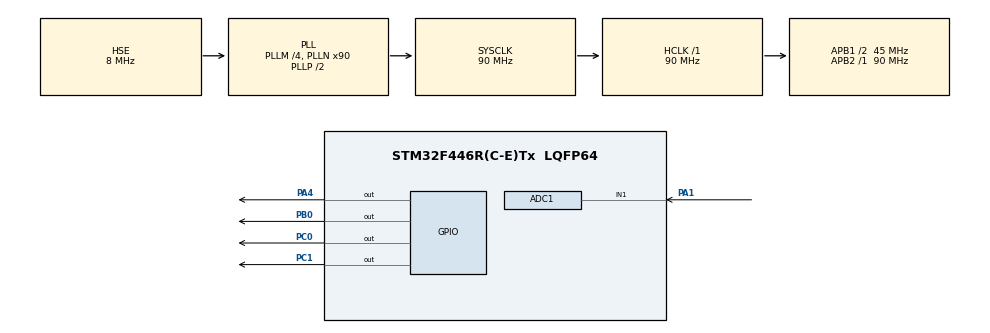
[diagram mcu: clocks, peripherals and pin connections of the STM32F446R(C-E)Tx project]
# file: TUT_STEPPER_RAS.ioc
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Mcu.Family=STM32F4
RCC.PLLSourceVirtual=RCC_PLLSOURCE_HSE
PH0-OSC_IN.Signal=RCC_OSC_IN
Dma.ADC1.0.Instance=DMA2_Stream0
RCC.CortexFreq_Value=90000000
ADC1.Rank-0\#ChannelRegularConversion=1
ADC1.ContinuousConvMode=ENABLE
TIM6.Prescaler=90-1
VP_TIM6_VS_ClockSourceINT.Mode=Enable_Timer
PC0.Signal=GPIO_Output
RCC.APB1CLKDivider=RCC_HCLK_DIV2
RCC.SYSCLKSource=RCC_SYSCLKSOURCE_PLLCLK
ProjectManager.StackSize=0x400
Dma.ADC1.0.PeriphDataAlignment=DMA_PDATAALIGN_HALFWORD
ProjectManager.TargetToolchain=STM32CubeIDE
Dma.ADC1.0.Mode=DMA_CIRCULAR
RCC.HCLKFreq_Value=90000000
Dma.ADC1.0.Priority=DMA_PRIORITY_LOW
RCC.APB2TimFreq_Value=90000000
Dma.ADC1.0.Direction=DMA_PERIPH_TO_MEMORY
NVIC.DMA2_Stream0_IRQn=true\:0\:0\:false\:false\:true\:false\:true
RCC.USBFreq_Value=90000000
Dma.ADC1.0.MemDataAlignment=DMA_MDATAALIGN_HALFWORD
PA1.Signal=ADCx_IN1
RCC.AHBFreq_Value=90000000
PH0-OSC_IN.Mode=HSE-External-Clock-Source
ADC1.Channel-0\#ChannelRegularConversion=ADC_CHANNEL_1
RCC.HSE_VALUE=8000000
board=custom
RCC.VCOOutputFreq_Value=180000000
RCC.APB2Freq_Value=90000000
Dma.ADC1.0.PeriphInc=DMA_PINC_DISABLE
PH1-OSC_OUT.Signal=RCC_OSC_OUT
ADC1.DMAContinuousRequests=ENABLE
Mcu.Name=STM32F446R(C-E)Tx
ADC1.SamplingTime-0\#ChannelRegularConversion=ADC_SAMPLETIME_3CYCLES
PH1-OSC_OUT.Mode=HSE-External-Clock-Source
PA4.Signal=GPIO_Output
RCC.SYSCLKFreq_VALUE=90000000
Mcu.Package=LQFP64
ADC1.master=1
Dma.ADC1.0.MemInc=DMA_MINC_ENABLE
ProjectManager.HeapSize=0x200
NVIC.PriorityGroup=NVIC_PRIORITYGROUP_4
ADC1.NbrOfConversionFlag=1
SH.ADCx_IN1.0=ADC1_IN1,IN1
RCC.PLLM=4
RCC.PLLN=90
RCC.APB1TimFreq_Value=90000000
Dma.ADC1.0.FIFOMode=DMA_FIFOMODE_DISABLE
Dma.Request0=ADC1
RCC.APB1Freq_Value=45000000
PB0.Signal=GPIO_Output
PC1.Signal=GPIO_Output

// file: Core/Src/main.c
/* USER CODE BEGIN Header */
/**
  ******************************************************************************
  * @file           : main.c
  * @brief          : Main program body
  ******************************************************************************
  * @attention
  *
  * <h2><center>&copy; Copyright (c) 2021 STMicroelectronics.
  * All rights reserved.</center></h2>
  *
  * This software component is licensed by ST under BSD 3-Clause license,
  * the "License"; You may not use this file except in compliance with the
  * License. You may obtain a copy of the License at:
  *                        opensource.org/licenses/BSD-3-Clause
  *
  ******************************************************************************
  */
/* USER CODE END Header */
#include "main.h"

ADC_HandleTypeDef hadc1;
DMA_HandleTypeDef hdma_adc1;

TIM_HandleTypeDef htim6;

void SystemClock_Config(void);
static void MX_GPIO_Init(void);
static void MX_DMA_Init(void);
static void MX_ADC1_Init(void);
static void MX_TIM6_Init(void);

/* USER CODE BEGIN 0 */

#define IN1Port GPIOA
#define IN1Pin GPIO_PIN_4

#define IN2Port GPIOB
#define IN2Pin  GPIO_PIN_0

#define IN3Port GPIOC
#define IN3Pin  GPIO_PIN_1

#define IN4Port GPIOC
#define IN4Pin  GPIO_PIN_0

#define stepsperrev 2048

/* To produce us Delay */
void delay (uint16_t us)
{
	__HAL_TIM_SET_COUNTER(&htim6, 0);
	while (__HAL_TIM_GET_COUNTER(&htim6) < us);
}

/*set the RPM for the Stepper */
void stepper_set_rpm (int rpm)  // Set rpm--> max 13, min 1,,,  went to 14 rev/min
{
	delay(60000000/stepsperrev/rpm);
}

/*Set a particular pin */
void SetPin (GPIO_TypeDef* GPIOx, uint16_t GPIO_Pin)
{
	HAL_GPIO_WritePin(GPIOx, GPIO_Pin, GPIO_PIN_SET);
}

/*Reset a particular pin */
void ResetPin (GPIO_TypeDef* GPIOx, uint16_t GPIO_Pin)
{
	HAL_GPIO_WritePin(GPIOx, GPIO_Pin, GPIO_PIN_RESET);
}

/* Wave Drive for Stepper
 * It Energizes 1 Electromagnet at a time
 * 1 revolution is 2048 steps = 512 Sequences
 * Here Sequence stands for one complete loop inside this function
 * As there are 4 steps in one loop/sequence, 2048 steps = 512 sequences
 */
void stepper_wave_drive (int step)
{
	switch (step){
		case 0:
			  SetPin(IN1Port, IN1Pin);   // IN1 SET
			  ResetPin(IN2Port, IN2Pin);   // IN2 RESET
			  ResetPin(IN3Port, IN3Pin);   // IN3 RESET
			  ResetPin(IN4Port, IN4Pin);   // IN4 RESET
			  break;

		case 1:
			  ResetPin(IN1Port, IN1Pin);   // IN1 RESET
			  SetPin(IN2Port, IN2Pin);   // IN2 SET
			  ResetPin(IN3Port, IN3Pin);   // IN3 RESET
			  ResetPin(IN4Port, IN4Pin);   // IN4 RESET
			  break;

		case 2:
			  ResetPin(IN1Port, IN1Pin);   // IN1 RESET
			  ResetPin(IN2Port, IN2Pin);   // IN2 RESET
			  SetPin(IN3Port, IN3Pin);   // IN3 SET
			  ResetPin(IN4Port, IN4Pin);   // IN4 RESET
			  break;

		case 3:
			  ResetPin(IN1Port, IN1Pin);   // IN1 RESET
			  ResetPin(IN2Port, IN2Pin);   // IN2 RESET
			  ResetPin(IN3Port, IN3Pin);   // IN3 RESET
			  SetPin(IN4Port, IN4Pin);   // IN4 SET

		}
}

/* Step the motor by some particular angle
 * DIRECTION: 0 -> CK, 1 -> CCK
 */

void stepper_step_angle (float angle, int direction, int rpm)
{
	float anglepersequence = 0.703125;  // 360 degrees= 512 sequences
	int numberofsequences = (int) (angle/anglepersequence);

	for (int seq=0; seq<numberofsequences; seq++)
	{
		if (direction == 0)  // for clockwise
		{
			for (int step=7; step>=0; step--)
			{
				stepper_wave_drive(step);
				stepper_set_rpm(rpm);
			}

		}

		else if (direction == 1)  // for Counter-clockwise
		{
			for (int step=0; step<8; step++)
			{
				stepper_wave_drive(step);
				stepper_set_rpm(rpm);
			}
		}
	}
}

uint32_t ADC_VAL;
float voltage;
float angle;
float currentAngle = 0;

/* Rotate the motor */
void Stepper_rotate (int angle, int rpm)
{
	int changeinangle = 0;
	changeinangle = angle-currentAngle;  // calculate the angle by which the motor needed to be rotated
	if (changeinangle > 2)  // clockwise
	{
		stepper_step_angle (changeinangle,0,rpm);
		currentAngle = angle;  // save the angle as current angle
	}
	else if (changeinangle <-2) // CCK
	{
		changeinangle = -(changeinangle);
		stepper_step_angle (changeinangle,1,rpm);
		currentAngle = angle;
	}
}

void HAL_ADC_ConvCpltCallback(ADC_HandleTypeDef* hadc)
{
	voltage = (float)(ADC_VAL*3.3)/4095;
	angle = voltage*300/3.3;
	Stepper_rotate(angle, 10);
}

/* USER CODE END 0 */

int main(void)
{

  /* MCU Configuration--------------------------------------------------------*/

  /* Reset of all peripherals, Initializes the Flash interface and the Systick. */
  HAL_Init();

  /* Configure the system clock */
  SystemClock_Config();

  /* Initialize all configured peripherals */
  MX_GPIO_Init();
  MX_DMA_Init();
  MX_ADC1_Init();
  MX_TIM6_Init();
  /* USER CODE BEGIN 2 */

  HAL_TIM_Base_Start(&htim6);  // for us delay
  HAL_ADC_Start_DMA(&hadc1, &ADC_VAL, 1);

  /* USER CODE END 2 */

  /* Infinite loop */
  while (1)
  {

  }
}

void SystemClock_Config(void)
{
  RCC_OscInitTypeDef RCC_OscInitStruct = {0};
  RCC_ClkInitTypeDef RCC_ClkInitStruct = {0};

  /** Configure the main internal regulator output voltage
  */
  __HAL_RCC_PWR_CLK_ENABLE();
  __HAL_PWR_VOLTAGESCALING_CONFIG(PWR_REGULATOR_VOLTAGE_SCALE3);
  /** Initializes the RCC Oscillators according to the specified parameters
  * in the RCC_OscInitTypeDef structure.
  */
  RCC_OscInitStruct.OscillatorType = RCC_OSCILLATORTYPE_HSE;
  RCC_OscInitStruct.HSEState = RCC_HSE_BYPASS;
  RCC_OscInitStruct.PLL.PLLState = RCC_PLL_ON;
  RCC_OscInitStruct.PLL.PLLSource = RCC_PLLSOURCE_HSE;
  RCC_OscInitStruct.PLL.PLLM = 4;
  RCC_OscInitStruct.PLL.PLLN = 90;
  RCC_OscInitStruct.PLL.PLLP = RCC_PLLP_DIV2;
  RCC_OscInitStruct.PLL.PLLQ = 2;
  RCC_OscInitStruct.PLL.PLLR = 2;
  if (HAL_RCC_OscConfig(&RCC_OscInitStruct) != HAL_OK)
  {
    Error_Handler();
  }
  /** Initializes the CPU, AHB and APB buses clocks
  */
  RCC_ClkInitStruct.ClockType = RCC_CLOCKTYPE_HCLK|RCC_CLOCKTYPE_SYSCLK
                              |RCC_CLOCKTYPE_PCLK1|RCC_CLOCKTYPE_PCLK2;
  RCC_ClkInitStruct.SYSCLKSource = RCC_SYSCLKSOURCE_PLLCLK;
  RCC_ClkInitStruct.AHBCLKDivider = RCC_SYSCLK_DIV1;
  RCC_ClkInitStruct.APB1CLKDivider = RCC_HCLK_DIV2;
  RCC_ClkInitStruct.APB2CLKDivider = RCC_HCLK_DIV1;

  if (HAL_RCC_ClockConfig(&RCC_ClkInitStruct, FLASH_LATENCY_2) != HAL_OK)
  {
    Error_Handler();
  }
}

static void MX_ADC1_Init(void)
{

  ADC_ChannelConfTypeDef sConfig = {0};

  /** Configure the global features of the ADC (Clock, Resolution, Data Alignment and number of conversion)
  */
  hadc1.Instance = ADC1;
  hadc1.Init.ClockPrescaler = ADC_CLOCK_SYNC_PCLK_DIV4;
  hadc1.Init.Resolution = ADC_RESOLUTION_12B;
  hadc1.Init.ScanConvMode = DISABLE;
  hadc1.Init.ContinuousConvMode = ENABLE;
  hadc1.Init.DiscontinuousConvMode = DISABLE;
  hadc1.Init.ExternalTrigConvEdge = ADC_EXTERNALTRIGCONVEDGE_NONE;
  hadc1.Init.ExternalTrigConv = ADC_SOFTWARE_START;
  hadc1.Init.DataAlign = ADC_DATAALIGN_RIGHT;
  hadc1.Init.NbrOfConversion = 1;
  hadc1.Init.DMAContinuousRequests = ENABLE;
  hadc1.Init.EOCSelection = ADC_EOC_SINGLE_CONV;
  if (HAL_ADC_Init(&hadc1) != HAL_OK)
  {
    Error_Handler();
  }
  /** Configure for the selected ADC regular channel its corresponding rank in the sequencer and its sample time.
  */
  sConfig.Channel = ADC_CHANNEL_1;
  sConfig.Rank = 1;
  sConfig.SamplingTime = ADC_SAMPLETIME_3CYCLES;
  if (HAL_ADC_ConfigChannel(&hadc1, &sConfig) != HAL_OK)
  {
    Error_Handler();
  }

}

static void MX_TIM6_Init(void)
{

  TIM_MasterConfigTypeDef sMasterConfig = {0};

  htim6.Instance = TIM6;
  htim6.Init.Prescaler = 90-1;
  htim6.Init.CounterMode = TIM_COUNTERMODE_UP;
  htim6.Init.Period = 65535;
  htim6.Init.AutoReloadPreload = TIM_AUTORELOAD_PRELOAD_DISABLE;
  if (HAL_TIM_Base_Init(&htim6) != HAL_OK)
  {
    Error_Handler();
  }
  sMasterConfig.MasterOutputTrigger = TIM_TRGO_RESET;
  sMasterConfig.MasterSlaveMode = TIM_MASTERSLAVEMODE_DISABLE;
  if (HAL_TIMEx_MasterConfigSynchronization(&htim6, &sMasterConfig) != HAL_OK)
  {
    Error_Handler();
  }

}

static void MX_DMA_Init(void)
{

  /* DMA controller clock enable */
  __HAL_RCC_DMA2_CLK_ENABLE();

  /* DMA interrupt init */
  /* DMA2_Stream0_IRQn interrupt configuration */
  HAL_NVIC_SetPriority(DMA2_Stream0_IRQn, 0, 0);
  HAL_NVIC_EnableIRQ(DMA2_Stream0_IRQn);

}

static void MX_GPIO_Init(void)
{
  GPIO_InitTypeDef GPIO_InitStruct = {0};

  /* GPIO Ports Clock Enable */
  __HAL_RCC_GPIOH_CLK_ENABLE();
  __HAL_RCC_GPIOC_CLK_ENABLE();
  __HAL_RCC_GPIOA_CLK_ENABLE();
  __HAL_RCC_GPIOB_CLK_ENABLE();

  /*Configure GPIO pin Output Level */
  HAL_GPIO_WritePin(GPIOC, GPIO_PIN_0|GPIO_PIN_1, GPIO_PIN_RESET);

  /*Configure GPIO pin Output Level */
  HAL_GPIO_WritePin(GPIOA, GPIO_PIN_4, GPIO_PIN_RESET);

  /*Configure GPIO pin Output Level */
  HAL_GPIO_WritePin(GPIOB, GPIO_PIN_0, GPIO_PIN_RESET);

  /*Configure GPIO pins : PC0 PC1 */
  GPIO_InitStruct.Pin = GPIO_PIN_0|GPIO_PIN_1;
  GPIO_InitStruct.Mode = GPIO_MODE_OUTPUT_PP;
  GPIO_InitStruct.Pull = GPIO_NOPULL;
  GPIO_InitStruct.Speed = GPIO_SPEED_FREQ_LOW;
  HAL_GPIO_Init(GPIOC, &GPIO_InitStruct);

  /*Configure GPIO pin : PA4 */
  GPIO_InitStruct.Pin = GPIO_PIN_4;
  GPIO_InitStruct.Mode = GPIO_MODE_OUTPUT_PP;
  GPIO_InitStruct.Pull = GPIO_NOPULL;
  GPIO_InitStruct.Speed = GPIO_SPEED_FREQ_LOW;
  HAL_GPIO_Init(GPIOA, &GPIO_InitStruct);

  /*Configure GPIO pin : PB0 */
  GPIO_InitStruct.Pin = GPIO_PIN_0;
  GPIO_InitStruct.Mode = GPIO_MODE_OUTPUT_PP;
  GPIO_InitStruct.Pull = GPIO_NOPULL;
  GPIO_InitStruct.Speed = GPIO_SPEED_FREQ_LOW;
  HAL_GPIO_Init(GPIOB, &GPIO_InitStruct);

}

void Error_Handler(void)
{
  __disable_irq();
  while (1)
  {
  }
}

/************************ (C) COPYRIGHT STMicroelectronics *****END OF FILE****/
